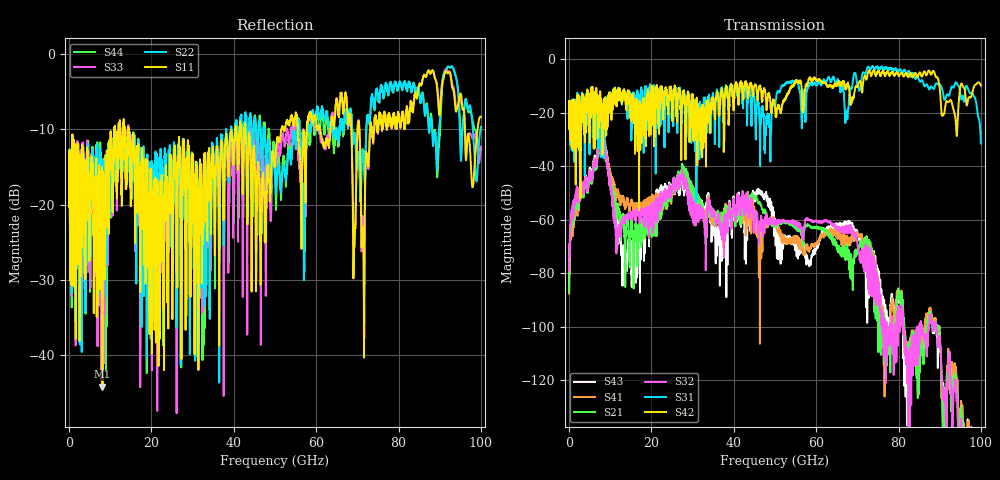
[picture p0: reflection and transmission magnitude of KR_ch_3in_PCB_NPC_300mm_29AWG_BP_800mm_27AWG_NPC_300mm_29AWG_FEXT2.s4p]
# GHz S RI R 45
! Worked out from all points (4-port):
!   4000 points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, 25 MHz to 100 GHz, reference 45 ohm
!   strongest paths, dB at 25 MHz, 25.02 GHz, 50.02 GHz, 75.03 GHz, 100 GHz:
!     S42: -20.6, -18.0, -18.0, -4.3, -9.8
!     S31: -20.6, -13.4, -17.5, -2.9, -31.4
!     S32: -79.0, -48.5, -61.7, -85.8, -148.9
!     S21: -87.0, -49.8, -62.5, -92.3, -151.5
!     S41: -87.7, -51.4, -60.1, -84.6, -143.0
!     S43: -87.2, -47.9, -59.7, -81.5, -142.9
!   lowest |S11| = -44.2 dB at 8.125 GHz (marker M1), VSWR 1.01, Z = 45.5 + j0.162 ohm
!   |S11| at or under -10 dB: start of sweep to 11.04 GHz; 14.46 GHz to 40.34 GHz (25.88 GHz wide, 94.5 % of centre); 42.82 GHz to 51.62 GHz (8.798 GHz wide, 18.6 % of centre)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
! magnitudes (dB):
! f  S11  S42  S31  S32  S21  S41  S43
! 25 MHz  -16.1  -20.6  -20.6  -79.0  -87.0  -87.7  -87.2
! 8.125 GHz  -44.2  -35.7  -25.2  -26.4  -28.4  -26.9  -25.1
! 13.38 GHz  -9.4  -11.1  -12.1  -61.2  -62.7  -54.1  -69.7
! 27.57 GHz  -14.7  -12.8  -14.6  -43.6  -41.2  -41.9  -45.9
! 37.02 GHz  -12.0  -12.5  -11.3  -64.7  -58.5  -58.1  -74.1
! 77.12 GHz  -9.8  -5.0  -2.8  -103.9  -110.7  -102.2  -97.4
! 100 GHz  -8.3  -9.8  -31.4  -148.9  -151.5  -143.0  -142.9
